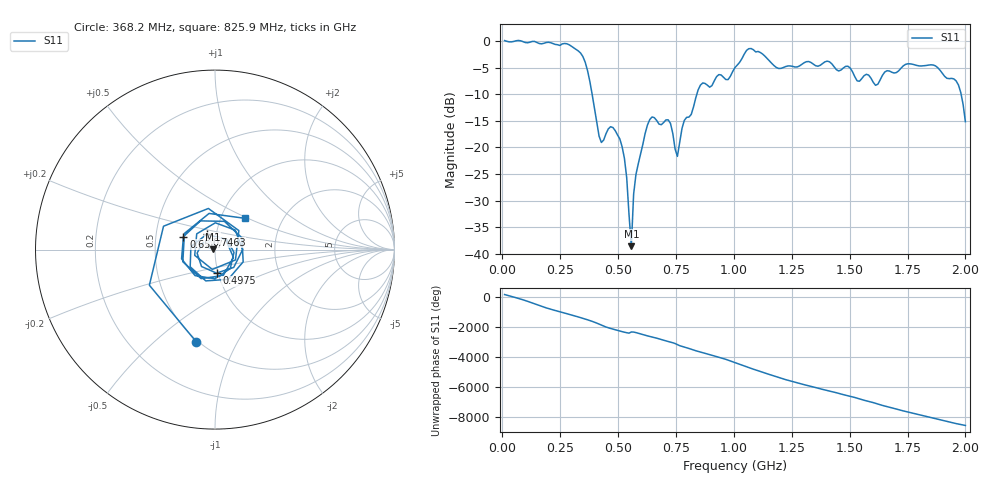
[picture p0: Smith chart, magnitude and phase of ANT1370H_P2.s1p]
!Created with skrf (http://scikit-rf.org).
# Hz S RI R 50.0
!freq ReS11 ImS11
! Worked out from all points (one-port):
!   201 points, 10 MHz to 2 GHz, reference 50 ohm
!   lowest |S11| = -38.5 dB at 557.2 MHz (marker M1), VSWR 1.02, Z = 48.9 + j0.243 ohm
!   |S11| at or under -10 dB: 388 MHz to 840.3 MHz (452.3 MHz wide, 73.7 % of centre); 1.981 GHz to end of sweep
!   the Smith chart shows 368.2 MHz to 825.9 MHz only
!   S11 on the Smith chart (normalised r, x): 368.2 MHz: 0.49, -0.70; 497.6 MHz: 0.98, -0.26; 656.8 MHz: 0.69, +0.10; 746.3 MHz: 0.90, +0.15; 825.9 MHz: 1.30, +0.48
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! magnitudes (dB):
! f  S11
! 10 MHz  0.1
! 258.8 MHz  -0.6
! 338.4 MHz  -2.3
! 368.2 MHz  -5.6
! 427.9 MHz  -19.1
! 467.7 MHz  -16.1
! 497.6 MHz  -17.6
! 507.5 MHz  -18.4
! 537.4 MHz  -25.7
! 557.2 MHz  -38.5
! 567.2 MHz  -28.8
! 577.1 MHz  -25.1
! 626.9 MHz  -15.8
! 656.8 MHz  -14.4
! 716.5 MHz  -14.8
! 746.3 MHz  -20.3
! 756.2 MHz  -21.7
! 786.1 MHz  -14.9
! 825.9 MHz  -12.4
! 855.8 MHz  -8.3
! 1.005 GHz  -5.0
! 1.075 GHz  -1.4
! 1.254 GHz  -4.8
! 1.502 GHz  -5.1
! 1.612 GHz  -8.3
! 1.751 GHz  -4.3
! 1.96 GHz  -7.5
! 2 GHz  -15.2
